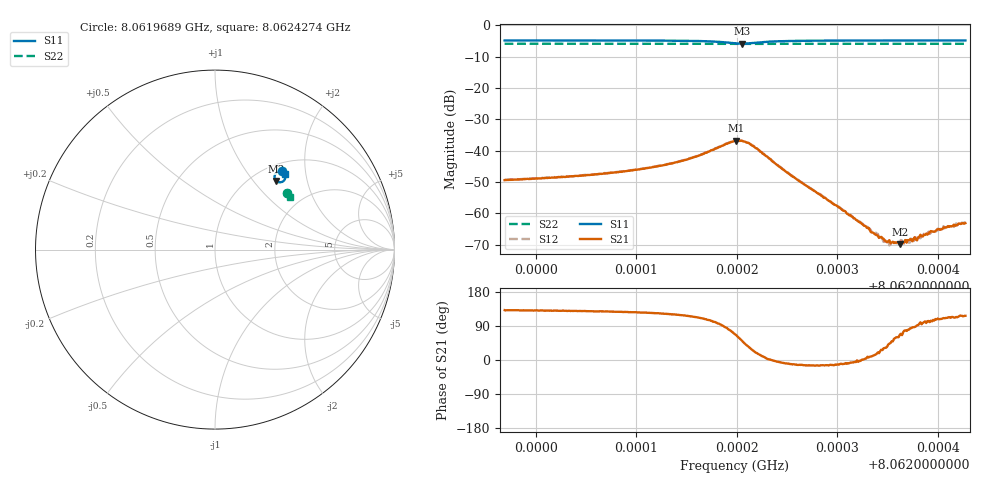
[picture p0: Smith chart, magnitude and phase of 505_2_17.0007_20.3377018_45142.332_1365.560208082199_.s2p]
#  HZ  S  RI  R  50.00
! Rohde & Schwarz Vector Network Analyzer
! Rohde-Schwarz,ZNB20-2Port,1311601062101988,3.16
! Created: UTC 3/20/2024, 11:14:45 PM
! freq[Hz]  re:S11  im:S11  re:S21  im:S21  re:S12  im:S12  re:S22  im:S22
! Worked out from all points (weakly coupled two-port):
!   401 points, 8.0619689 GHz to 8.0624274 GHz, reference 50 ohm
!   highest |S21| = -36.81 dB at 8.0621993 GHz (marker M1); lowest = -69.8 dB at 8.0623621 GHz (marker M2)
!   lowest |S11| = -5.8 dB at 8.0622051 GHz (marker M3), VSWR 3.11, Z = 63.7 + j66.1 ohm
!   |S11| at or under -10 dB: nowhere
!   |S22| runs from -5.9 to -5.8 dB; largest |S21 - S12| = 0.00098
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8.06196892e9  0.3748 0.4374  -0.00225 0.00254  -0.0021 0.00276  0.4025 0.3133
8.06204572e9  0.3809 0.4316  -0.00252 0.00312  -0.00233 0.00332  0.4055 0.3093
8.06209157e9  0.3853 0.4263  -0.00285 0.00383  -0.00263 0.00401  0.4071 0.307
8.06212252e9  0.3887 0.4209  -0.00312 0.0048  -0.00282 0.00497  0.4082 0.305
8.06216035e9  0.3925 0.4068  -0.00314 0.00751  -0.00272 0.00779  0.4095 0.3026
8.06219818e9  0.3596 0.3751  0.00534 0.0132  0.00614 0.013  0.4089 0.2999
8.06219932e9  0.3565 0.3755  0.00596 0.0132  0.00674 0.0127  0.4087 0.2998
8.06220505e9  0.3425 0.3821  0.00906 0.0112  0.00964 0.0106  0.4085 0.3001
8.06221766e9  0.3322 0.4111  0.0106 0.00423  0.0109 0.00371  0.4088 0.3009
8.06224747e9  0.3573 0.4354  0.00476 -0.000703  0.00477 -0.00101  0.4113 0.3003
8.06227498e9  0.3698 0.4348  0.00231 -0.000597  0.00231 -0.000724  0.4128 0.2988
8.0623151e9  0.3786 0.4317  0.000874 -9.76e-05  0.000875 -0.000157  0.4143 0.2966
8.06233573e9  0.3816 0.4299  0.000481 9.82e-05  0.000503 8.1e-05  0.4152 0.2955
8.06234605e9  0.3829 0.4292  0.000337 0.000203  0.000315 0.000151  0.4155 0.295
8.06235178e9  0.3835 0.4287  0.000271 0.000254  0.000241 0.000192  0.4159 0.2946
8.0623598e9  0.3844 0.4282  0.000171 0.000301  0.000198 0.000269  0.4161 0.2941
8.06236209e9  0.3847 0.4281  0.000131 0.000294  0.000144 0.000262  0.4162 0.2942
8.06237012e9  0.3855 0.4274  6.85e-05 0.000371  7.26e-05 0.000358  0.4164 0.2935
8.06237699e9  0.3861 0.4271  2.03e-05 0.000415  2.05e-05 0.000381  0.4166 0.2932
8.06239304e9  0.3875 0.4259  -0.000124 0.000506  -8.18e-05 0.000479  0.4172 0.2924
8.06240794e9  0.3888 0.425  -0.000212 0.000555  -0.00017 0.000576  0.4178 0.2915
8.06242743e9  0.3905 0.4237  -0.000313 0.000623  -0.000284 0.000645  0.4185 0.2907
